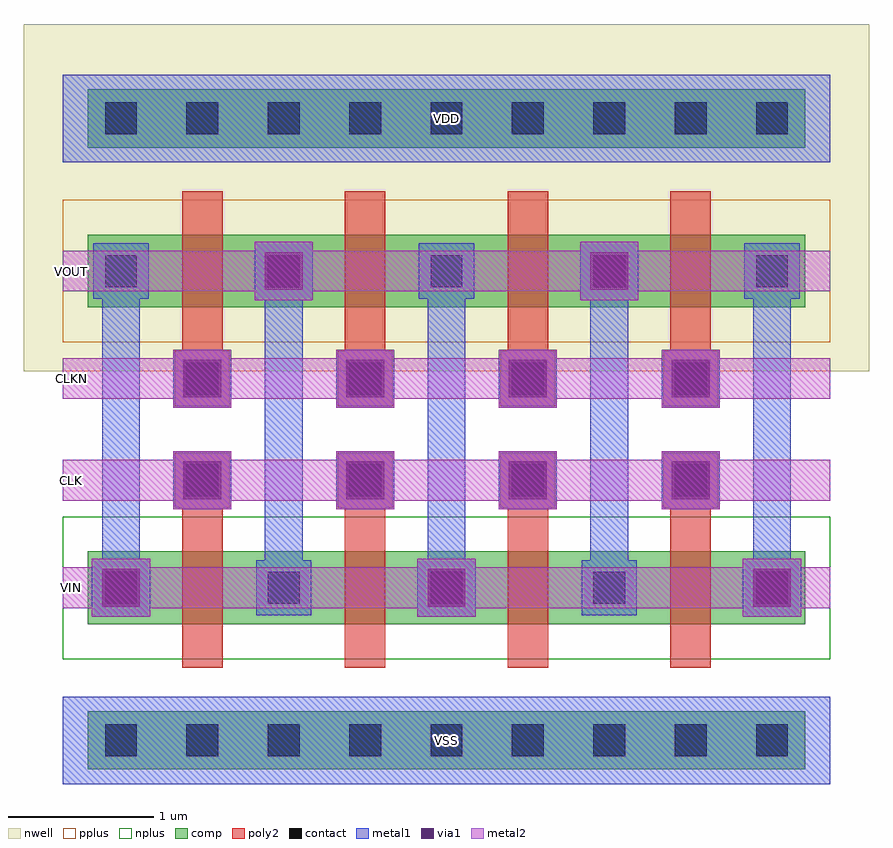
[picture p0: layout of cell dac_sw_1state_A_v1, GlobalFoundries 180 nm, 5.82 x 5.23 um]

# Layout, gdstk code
import gdstk
lib = gdstk.Library(unit=1e-6, precision=5e-09)
def R(c, l, rs):  # rectangles x0, y0, x1, y1
    for r in rs: c.add(gdstk.rectangle(r[:2], r[2:], *l))
def A(c, l, x, y, w, h, nx, ny, dx, dy):  # array of equal rectangles
    R(c, l, [(x+i*dx, y+j*dy, x+i*dx+w, y+j*dy+h) for i in range(nx) for j in range(ny)])
nwell = (21, 0)
comp = (22, 0)
poly2 = (30, 0)
pplus = (31, 0)
nplus = (32, 0)
contact = (33, 0)
metal1 = (34, 0)
via1 = (35, 0)
metal2 = (36, 0)

via_dev = lib.new_cell('via_dev')
R(via_dev, metal1, [(0,0,0.4,0.4)])
R(via_dev, via1, [(0.07,0.07,0.33,0.33)])
R(via_dev, metal2, [(0,0,0.4,0.4)])

pfet = lib.new_cell('pfet')
R(pfet, nwell, [(-0.9,-0.44,1.56,0.94)])
R(pfet, comp, [(-0.46,0,0,0.5), (0,0,0.66,0.5), (0.66,0,1.12,0.5)])
R(pfet, poly2, [(0.14,-0.68,0.52,-0.3), (0.19,-0.3,0.47,0.8)])
R(pfet, pplus, [(-0.63,-0.24,1.29,0.74)])
R(pfet, contact, [(0.22,-0.6,0.44,-0.38), (-0.34,0.14,-0.12,0.36), (0.78,0.14,1,0.36)])
R(pfet, metal1, [(0.14,-0.68,0.52,-0.3), (-0.42,0.06,-0.04,0.44), (0.7,0.06,1.08,0.44)])

dac_sw_1state_a_v1 = lib.new_cell('dac_sw_1state_A_v1')
R(dac_sw_1state_a_v1, nwell, [(5.08,9.03,10.9,10.04)])
A(dac_sw_1state_a_v1, comp, 5.52, 5.91, 1.58, 0.5, 4, 1, 1.12, 0)
R(dac_sw_1state_a_v1, comp, [(5.52,4.91,10.46,5.31), (5.52,5.91,5.98,6.41), (6.64,5.91,7.1,6.41), (6.64,5.91,7.1,6.41), (7.76,5.91,8.22,6.41), (7.76,5.91,8.22,6.41), (8.88,5.91,9.34,6.41), (8.88,5.91,9.34,6.41), (10,5.91,10.46,6.41), (10,5.91,10.46,6.41), (5.52,9.19,10.46,9.59)])
A(dac_sw_1state_a_v1, poly2, 6.17, 5.61, 0.28, 1.1, 4, 1, 1.12, 0)
A(dac_sw_1state_a_v1, poly2, 6.12, 6.71, 0.38, 0.38, 4, 1, 1.12, 0)
R(dac_sw_1state_a_v1, pplus, [(5.35,4.81,10.63,5.41)])
A(dac_sw_1state_a_v1, nplus, 5.35, 5.67, 1.92, 0.98, 4, 1, 1.12, 0)
R(dac_sw_1state_a_v1, nplus, [(5.35,9.09,10.63,9.69)])
A(dac_sw_1state_a_v1, contact, 5.64, 5, 0.22, 0.22, 9, 2, 0.56, 4.28)
A(dac_sw_1state_a_v1, contact, 6.2, 6.79, 0.22, 0.22, 4, 1, 1.12, 0)
R(dac_sw_1state_a_v1, contact, [(5.64,6.05,5.86,6.27), (6.76,6.05,6.98,6.27), (6.76,6.05,6.98,6.27), (7.88,6.05,8.1,6.27), (7.88,6.05,8.1,6.27), (9,6.05,9.22,6.27), (9,6.05,9.22,6.27), (10.12,6.05,10.34,6.27), (10.12,6.05,10.34,6.27)])
A(dac_sw_1state_a_v1, metal1, 5.55, 4.91, 0.4, 0.4, 9, 2, 0.56, 4.28)
A(dac_sw_1state_a_v1, metal1, 6.12, 6.71, 0.38, 0.38, 4, 1, 1.12, 0)
R(dac_sw_1state_a_v1, metal1, [(5.56,5.97,5.94,6.35), (6.68,5.97,7.06,6.35), (6.68,5.97,7.06,6.35), (7.8,5.97,8.18,6.35), (7.8,5.97,8.18,6.35), (8.92,5.97,9.3,6.35), (8.92,5.97,9.3,6.35), (10.04,5.97,10.42,6.35), (10.04,5.97,10.42,6.35)])
dac_sw_1state_a_v1.add(gdstk.FlexPath([(5.35,8.34),(10.63,8.34)], 0.28, ends="flush", simple_path=True, layer=36, datatype=0))  # metal2
dac_sw_1state_a_v1.add(gdstk.FlexPath([(5.35,7.6),(10.63,7.6)], 0.28, ends="flush", simple_path=True, layer=36, datatype=0))  # metal2
dac_sw_1state_a_v1.add(gdstk.FlexPath([(5.35,6.9),(10.63,6.9)], 0.28, ends="flush", simple_path=True, layer=36, datatype=0))  # metal2
dac_sw_1state_a_v1.add(gdstk.FlexPath([(5.35,6.16),(10.63,6.16)], 0.28, ends="flush", simple_path=True, layer=36, datatype=0))  # metal2
dac_sw_1state_a_v1.add(gdstk.FlexPath([(5.35,9.39),(10.63,9.39)], 0.6, ends="flush", simple_path=True, layer=34, datatype=0))  # metal1
dac_sw_1state_a_v1.add(gdstk.FlexPath([(5.75,8.53),(5.75,5.97)], 0.26, ends="flush", simple_path=True, layer=34, datatype=0))  # metal1
dac_sw_1state_a_v1.add(gdstk.FlexPath([(6.87,8.54),(6.87,5.97)], 0.26, ends="flush", simple_path=True, layer=34, datatype=0))  # metal1
dac_sw_1state_a_v1.add(gdstk.FlexPath([(7.99,8.53),(7.99,5.97)], 0.26, ends="flush", simple_path=True, layer=34, datatype=0))  # metal1
dac_sw_1state_a_v1.add(gdstk.FlexPath([(9.11,8.53),(9.11,5.97)], 0.26, ends="flush", simple_path=True, layer=34, datatype=0))  # metal1
dac_sw_1state_a_v1.add(gdstk.FlexPath([(10.23,8.53),(10.23,5.97)], 0.26, ends="flush", simple_path=True, layer=34, datatype=0))  # metal1
dac_sw_1state_a_v1.add(gdstk.FlexPath([(5.35,5.11),(10.63,5.11)], 0.6, ends="flush", simple_path=True, layer=34, datatype=0))  # metal1
dac_sw_1state_a_v1.add(gdstk.Reference(via_dev, (7.23,6.7)))
dac_sw_1state_a_v1.add(gdstk.Reference(via_dev, (8.35,6.7)))
dac_sw_1state_a_v1.add(gdstk.Reference(via_dev, (9.47,6.7)))
dac_sw_1state_a_v1.add(gdstk.Reference(via_dev, (5.55,5.96)))
dac_sw_1state_a_v1.add(gdstk.Reference(via_dev, (7.79,5.96)))
dac_sw_1state_a_v1.add(gdstk.Reference(via_dev, (10.03,5.96)))
dac_sw_1state_a_v1.add(gdstk.Reference(via_dev, (6.11,6.7)))
dac_sw_1state_a_v1.add(gdstk.Reference(pfet, (7.1,8.09)))
dac_sw_1state_a_v1.add(gdstk.Reference(pfet, (9.34,8.09)))
dac_sw_1state_a_v1.add(gdstk.Reference(pfet, (5.98,8.09)))
dac_sw_1state_a_v1.add(gdstk.Reference(via_dev, (6.11,7.4)))
dac_sw_1state_a_v1.add(gdstk.Reference(via_dev, (7.23,7.4)))
dac_sw_1state_a_v1.add(gdstk.Reference(via_dev, (8.35,7.4)))
dac_sw_1state_a_v1.add(gdstk.Reference(via_dev, (9.47,7.4)))
dac_sw_1state_a_v1.add(gdstk.Reference(pfet, (8.22,8.09)))
dac_sw_1state_a_v1.add(gdstk.Reference(via_dev, (6.67,8.14)))
dac_sw_1state_a_v1.add(gdstk.Reference(via_dev, (8.91,8.14)))
dac_sw_1state_a_v1.add(gdstk.Label('CLKN', (5.41,7.6), layer=36, texttype=10))
dac_sw_1state_a_v1.add(gdstk.Label('VOUT', (5.41,8.34), layer=36, texttype=10))
dac_sw_1state_a_v1.add(gdstk.Label('VIN', (5.41,6.16), layer=36, texttype=10))
dac_sw_1state_a_v1.add(gdstk.Label('CLK', (5.41,6.9), layer=36, texttype=10))
dac_sw_1state_a_v1.add(gdstk.Label('VDD', (7.99,9.39), layer=34, texttype=10))
dac_sw_1state_a_v1.add(gdstk.Label('VSS', (7.99,5.11), layer=34, texttype=10))

lib.write_gds('dac_sw_1state_A_v1.gds')
